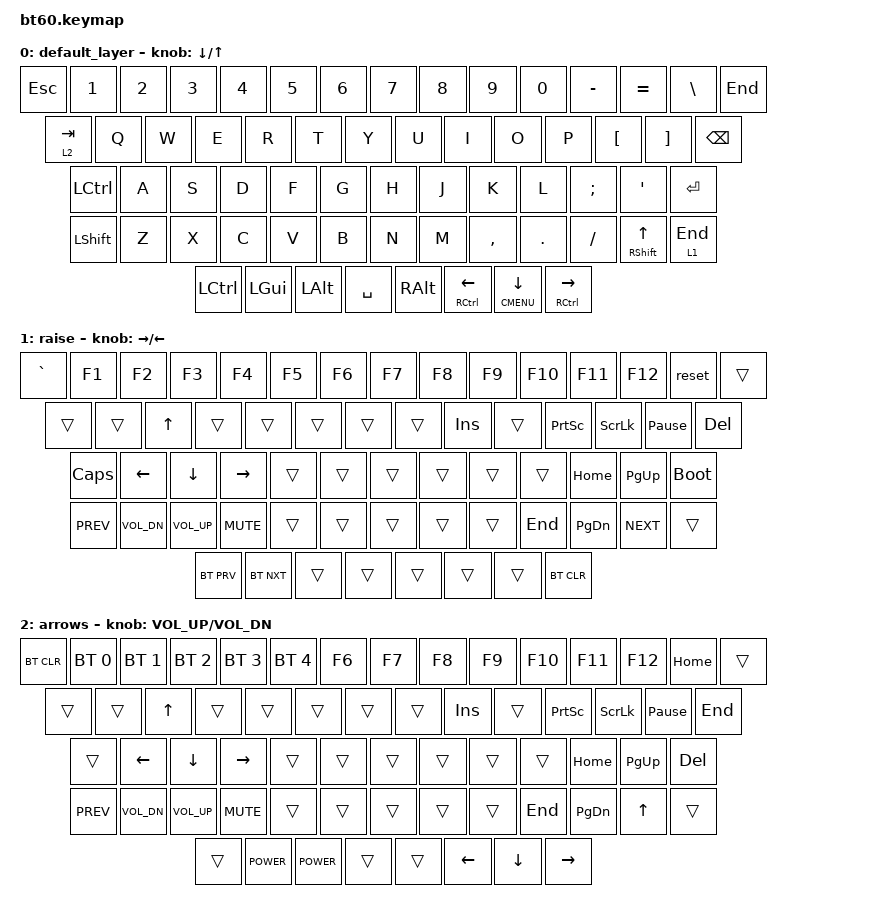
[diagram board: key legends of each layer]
#include <behaviors.dtsi>
#include <dt-bindings/zmk/keys.h>
#include <dt-bindings/zmk/bt.h>

/ {
	keymap {
		compatible = "zmk,keymap";

		default_layer {
				// ------------------------------------------------------------------------------------------
				// | ESC |  1  |  2  |  3  |  4  |  5  |  6  |  7  |  8  |  9  |  0  |  -  |  =  |  \  | Enc |
				// | TAB  |  Q  |  W  |  E  |  R  |  T  |  Y  |  U  |  I  |  O  |  P  |  [  |  ]  |  BACKSP  |
				// | CAPS  |  A  |  S  |  D  |  F  |  G  |  H  |  J  |  K  |  L  |  ;  |  '  |     ENTER     |
				// |  SHIFT    |  Z  |  X  |  C  |  V  |  B  |  N  |  M  |  ,  |  .  |  /  |   SHIFT   | END |
				// |  CTL  |  WIN  |  ALT  |            SPACE               | ALT | 1    |  MENU    |  CTRL  |
				// ------------------------------------------------------------------------------------------
			bindings = <
				&kp ESC &kp N1 &kp N2 &kp N3 &kp N4 &kp N5 &kp N6 &kp N7 &kp  N8   &kp  N9 &kp  N0  &kp MINUS &kp EQUAL &kp BSLH &kp END
				&lt 2 TAB  &kp Q  &kp W  &kp E  &kp R  &kp T  &kp Y  &kp U  &kp  I    &kp  O  &kp  P   &kp LBKT &kp RBKT  &kp BSPC
				&kp LCTRL  &kp A  &kp S  &kp D  &kp F  &kp G  &kp H  &kp J  &kp  K    &kp  L  &kp SEMI &kp SQT           &kp RET
				&kp LSHFT  &kp Z  &kp X  &kp C  &kp V  &kp B  &kp N  &kp M  &kp COMMA &kp DOT &kp FSLH             &mt RSHFT UP &lt 1 END
				&kp LCTRL &kp LGUI &kp LALT            &kp SPACE                          &kp RALT  &mt RCTRL LEFT &mt K_CMENU DOWN &mt RCTRL RIGHT
			>;
			sensor-bindings = <&inc_dec_kp DOWN UP>;
		};
		raise {
			bindings = <
				&kp GRAVE &kp F1 &kp F2 &kp F3 &kp F4 &kp F5 &kp F6 &kp F7 &kp  F8   &kp  F9 &kp  F10  &kp F11 &kp F12  &reset  &trans
				&trans &trans &kp UP &trans &trans &trans &trans &trans &kp INS &trans &kp PSCRN &kp SLCK &kp PAUSE_BREAK &kp DEL
				&kp CAPSLOCK    &kp LEFT &kp DOWN &kp RIGHT &trans &trans &trans &trans &trans &trans &kp HOME  &kp PG_UP   &bootloader
				&kp C_PREV &kp C_VOL_DN &kp C_VOL_UP &kp C_MUTE &trans &trans &trans &trans &trans &kp END &kp PG_DN  &kp C_NEXT &trans
				&bt BT_PRV &bt BT_NXT  &trans              &trans                            &trans   &trans   &trans &bt BT_CLR
			>;
			sensor-bindings = <&inc_dec_kp RIGHT LEFT>;
		};
		arrows {
			bindings = <
				&bt BT_CLR &bt BT_SEL 0 &bt BT_SEL 1 &bt BT_SEL 2 &bt BT_SEL 3 &bt BT_SEL 4 &kp F6 &kp F7 &kp  F8   &kp  F9 &kp  F10  &kp F11 &kp F12 &kp HOME &trans
				&trans &trans &kp UP &trans &trans &trans &trans &trans &kp INS &trans &kp PSCRN &kp SLCK &kp PAUSE_BREAK &kp END
				&trans    &kp LEFT &kp DOWN &kp RIGHT &trans &trans &trans &trans &trans &trans &kp HOME  &kp PG_UP   &kp DEL
				&kp C_PREV &kp C_VOL_DN &kp C_VOL_UP &kp C_MUTE &trans &trans &trans &trans &trans &kp END &kp PG_DN  &kp UP &trans
				&trans &kp C_POWER  &kp K_POWER              &trans                            &trans   &kp LEFT   &kp DOWN &kp RIGHT
			>;
			sensor-bindings = <&inc_dec_kp C_VOL_UP C_VOL_DN>;
		};
	};
};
